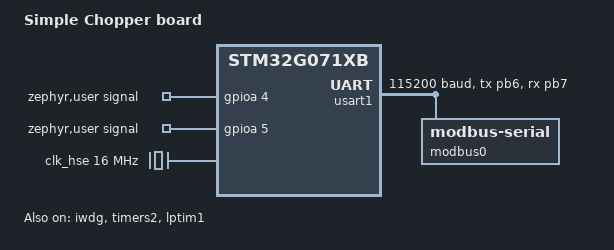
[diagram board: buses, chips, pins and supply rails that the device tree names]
/*
 * Copyright (c) 2023 Rubus Technologies Inc.
 *
 * SPDX-License-Identifier: Apache-2.0
 */

/dts-v1/;
#include <st/g0/stm32g071Xb.dtsi>
#include <st/g0/stm32g071g(6-8-b)ux-pinctrl.dtsi>

/ {
	model = "Simple Chopper board";
	compatible = "spiders,simplechopper";

	chosen {
		zephyr,sram = &sram0;
		zephyr,flash = &flash0;
	};

	aliases {
		watchdog0 = &iwdg;
	};

	zephyr,user {
		signal-gpios = <&gpioa 4 (GPIO_OPEN_DRAIN | GPIO_ACTIVE_HIGH)>,
		               <&gpioa 5 (GPIO_OPEN_DRAIN | GPIO_ACTIVE_HIGH)>;
	};
};

&clk_lsi {
	status = "okay";
};

&clk_hse {
	clock-frequency = <DT_FREQ_M(16)>;
	hse-bypass;
	status = "okay";
};

// &clk_hsi {
// 	status = "okay";
// };

&pll {
	div-m = <1>;
	mul-n = <8>;
	div-p = <2>;
	div-q = <2>;
	div-r = <2>;
	clocks = <&clk_hse>;
	status = "okay";
};

&rcc {
	clocks = <&pll>;
	clock-frequency = <DT_FREQ_M(64)>;
	ahb-prescaler = <1>;
	apb1-prescaler = <1>;
};

&usart1 {
	pinctrl-0 = <&usart1_tx_pb6 &usart1_rx_pb7>;
	pinctrl-names = "default";
	current-speed = <115200>;
	status = "okay";

	modbus0 {
		compatible = "zephyr,modbus-serial";
		status = "okay";
	};
};

&iwdg {
	status = "okay";
};

&timers2 {
	st,prescaler = <0>;
	status = "okay";
	triggers: triggers {
		compatible = "st,stm32-timer-ic";
		pinctrl-0 = <&tim2_ch2_pa1>, <&tim2_ch3_pa2>;
		pinctrl-names = "default";
		status = "okay";
	};
};

&flash0 {
	partitions {
		compatible = "fixed-partitions";
		#address-cells = <1>;
		#size-cells = <1>;

		/* Set 2KB of storage at the end of 128KB flash */
		storage_partition: partition@1f800 {
			label = "storage";
			reg = <0x0001f800 DT_SIZE_K(2)>;
		};
	};
};

&cpu0 {
	cpu-power-states = <&stop0 &stop1>;
};

&lptim1 {
	clocks = <&rcc STM32_CLOCK_BUS_APB1 0x80000000>,
	         <&rcc STM32_SRC_LSI LPTIM1_SEL(1)>;
	status = "okay";
};

